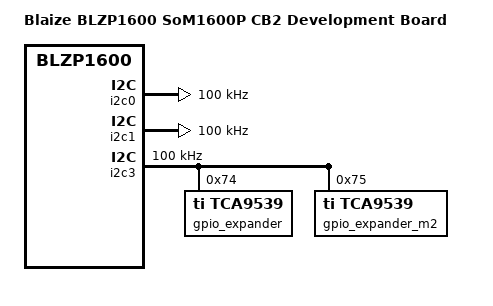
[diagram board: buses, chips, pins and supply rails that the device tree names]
// SPDX-License-Identifier: GPL-2.0+
/*
 * Copyright (c) 2024 Blaize, Inc. All rights reserved.
 */

/dts-v1/;

#include "blaize-blzp1600-som.dtsi"

/ {
	model = "Blaize BLZP1600 SoM1600P CB2 Development Board";

	compatible = "blaize,blzp1600-cb2", "blaize,blzp1600";

	aliases {
		serial0 = &uart0;
	};

	chosen {
		stdout-path = "serial0:115200";
	};
};

&i2c0 {
	clock-frequency = <100000>;
	status = "okay";
};

&i2c1 {
	clock-frequency = <100000>;
	status = "okay";
};

&i2c3 {
	clock-frequency = <100000>;
	status = "okay";

	gpio_expander: gpio@74 {
		compatible = "ti,tca9539";
		reg = <0x74>;
		gpio-controller;
		#gpio-cells = <2>;
		gpio-line-names = "RSP_PIN_7",	/* GPIO_0 */
				  "RSP_PIN_11",	/* GPIO_1 */
				  "RSP_PIN_13",	/* GPIO_2 */
				  "RSP_PIN_15",	/* GPIO_3 */
				  "RSP_PIN_27",	/* GPIO_4 */
				  "RSP_PIN_29",	/* GPIO_5 */
				  "RSP_PIN_31",	/* GPIO_6 */
				  "RSP_PIN_33",	/* GPIO_7 */
				  "RSP_PIN_37",	/* GPIO_8 */
				  "RSP_PIN_16",	/* GPIO_9 */
				  "RSP_PIN_18",	/* GPIO_10 */
				  "RSP_PIN_22",	/* GPIO_11 */
				  "RSP_PIN_28",	/* GPIO_12 */
				  "RSP_PIN_32",	/* GPIO_13 */
				  "RSP_PIN_36",	/* GPIO_14 */
				  "TP31";	/* GPIO_15 */
	};

	gpio_expander_m2: gpio@75 {
		compatible = "ti,tca9539";
		reg = <0x75>;
		gpio-controller;
		#gpio-cells = <2>;
		gpio-line-names = "M2_W_DIS1_N",	/* GPIO_0 */
				  "M2_W_DIS2_N",	/* GPIO_1 */
				  "M2_UART_WAKE_N",	/* GPIO_2 */
				  "M2_COEX3",		/* GPIO_3 */
				  "M2_COEX_RXD",	/* GPIO_4 */
				  "M2_COEX_TXD",	/* GPIO_5 */
				  "M2_VENDOR_PIN40",	/* GPIO_6 */
				  "M2_VENDOR_PIN42",	/* GPIO_7 */
				  "M2_VENDOR_PIN38",	/* GPIO_8 */
				  "M2_SDIO_RST_N",	/* GPIO_9 */
				  "M2_SDIO_WAKE_N",	/* GPIO_10 */
				  "M2_PETN1",		/* GPIO_11 */
				  "M2_PERP1",		/* GPIO_12 */
				  "M2_PERN1",		/* GPIO_13 */
				  "UIM_SWP",		/* GPIO_14 */
				  "UART1_TO_RSP";	/* GPIO_15 */
	};
};

&gpio0 {
	status = "okay";
	gpio-line-names = "PERST_N",		/* GPIO_0 */
			  "LM96063_ALERT_N",	/* GPIO_1 */
			  "INA3221_PV",		/* GPIO_2 */
			  "INA3221_CRIT",	/* GPIO_3 */
			  "INA3221_WARN",	/* GPIO_4 */
			  "INA3221_TC",		/* GPIO_5 */
			  "QSPI0_RST_N",	/* GPIO_6 */
			  "LM96063_TCRIT_N",	/* GPIO_7 */
			  "DSI_TCH_INT",	/* GPIO_8 */
			  "DSI_RST",		/* GPIO_9 */
			  "DSI_BL",		/* GPIO_10 */
			  "DSI_INT",		/* GPIO_11 */
			  "ETH_RST",		/* GPIO_12 */
			  "CSI0_RST",		/* GPIO_13 */
			  "CSI0_PWDN",		/* GPIO_14 */
			  "CSI1_RST",		/* GPIO_15 */
			  "CSI1_PWDN",		/* GPIO_16 */
			  "CSI2_RST",		/* GPIO_17 */
			  "CSI2_PWDN",		/* GPIO_18 */
			  "CSI3_RST",		/* GPIO_19 */
			  "CSI3_PWDN",		/* GPIO_20 */
			  "ADAC_RST",		/* GPIO_21 */
			  "SD_SW_VDD",		/* GPIO_22 */
			  "SD_PON_VDD",		/* GPIO_23 */
			  "GPIO_EXP_INT",	/* GPIO_24 */
			  "BOARD_ID_0",		/* GPIO_25 */
			  "SDIO1_SW_VDD",	/* GPIO_26 */
			  "SDIO1_PON_VDD",	/* GPIO_27 */
			  "SDIO2_SW_VDD",	/* GPIO_28 */
			  "SDIO2_PON_VDD",	/* GPIO_29 */
			  "BOARD_ID_1",		/* GPIO_30 */
			  "BOARD_ID_2";		/* GPIO_31 */
};
